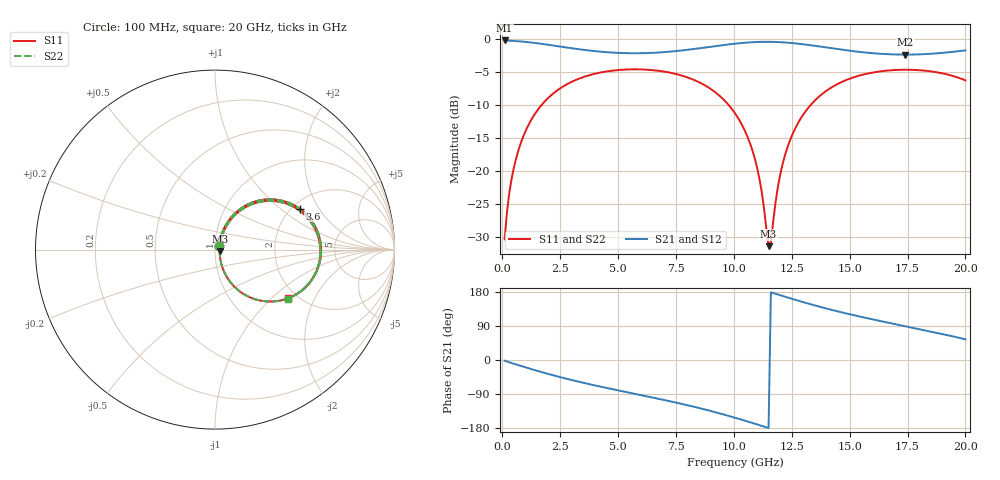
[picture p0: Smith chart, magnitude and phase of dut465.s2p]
! Touchstone file exported from HFSS 2026.1.0
!  File:  C:/ffzhzh/LocalFiles/Ansys_Project_Files/temp_train_TSV_RDL_465_1783102162_53076.aedt
!  Generated:  02:24:27 AM Jul  4, 2026
!  Design:  TSV_RDL
!  Project:  temp_train_TSV_RDL_465_1783102162_53076
! Variables:
!  h_bsmrdl = 3.25um
!  h_ox = 20um
!  h_rdl = 5um
!  h_sub = 69.39um
!  h_tmrdl = 5.28um
!  h_tsv = 69.39um
!  h_via = 3um
!  l_bsmrdl = 993.34um
!  l_sub = 5469.28um
!  l_tmrdl = 487.23um
!  m_sub = 200um
!  pitch = 58.72um
!  r_tsv = 9.49um
!  s_tmrdl = 10um
!  w_bsmrdl = 21.92um
!  w_sub = 500um
!  w_tmrdl = 24.86um
!  x_tsv_center1 = 499.66um
!  x_tsv_center2 = 1514.92um
!  x_tsv_center3 = 2027.01um
!  x_tsv_center4 = 3042.27um
!  x_tsv_center5 = 3554.36um
!  x_tsv_center6 = 4569.62um
# GHz S MA R 50.000000
! Terminal data exported
! Port[1] = TM_RDL1_1_T1
! Port[2] = TM_RDL5_1_T1
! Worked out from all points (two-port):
!   200 points, 100 MHz to 20 GHz, reference 50 ohm
!   highest |S21| = -0.19 dB at 100 MHz (marker M1); lowest = -2.3 dB at 17.4 GHz (marker M2)
!   |S21| within 3 dB of the highest: start of sweep to end of sweep
!   lowest |S11| = -31.4 dB at 11.5 GHz (marker M3), VSWR 1.06, Z = 52.7 - j0.769 ohm
!   |S11| at or under -10 dB: start of sweep to 1.691 GHz; 9.781 GHz to 13.31 GHz (3.53 GHz wide, 30.6 % of centre)
!   |S22| runs from -31.3 to -4.6 dB; largest |S21 - S12| = 1.7e-14
!   S11 on the Smith chart (normalised r, x): 100 MHz: 1.04, +0.04; 3.6 GHz: 2.19, +1.38; 20 GHz: 1.78, -1.27
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0.1  0.03039 44.1  0.9787 -2.0  0.9787 -2.0  0.03039 44.1
! Gamma 0 0 0 0
! Port Impedance 50 0 50 0
0.3  0.06765 64.2  0.9751 -6.0  0.9751 -6.0  0.06765 64.2
0.5  0.1064 67.1  0.9706 -9.9  0.9706 -9.9  0.1064 67.1
1.1  0.2184 62.1  0.9507 -21.2  0.9507 -21.2  0.2184 62.1
2.1  0.3748 47.3  0.9013 -38.7  0.9013 -38.7  0.3748 47.3
3.5  0.5164 27.2  0.8313 -60.2  0.8313 -60.2  0.5164 27.2
3.6  0.5234 25.9  0.8271 -61.6  0.8271 -61.6  0.5234 25.9
5.2  0.5874 5.6  0.7855 -82.7  0.7855 -82.7  0.5874 5.6
6.8  0.5749 -13.9  0.794 -103.0  0.794 -103.0  0.5749 -14.0
8.6  0.4624 -37.8  0.8577 -128.3  0.8577 -128.3  0.4624 -37.8
10.1  0.2663 -59.7  0.9274 -153.2  0.9274 -153.2  0.2663 -59.7
11  0.107 -67.5  0.9528 -169.9  0.9528 -169.9  0.1071 -67.5
11.5  0.027 -15.7  0.9558 -179.5  0.9558 -179.5  0.02716 -15.7
11.6  0.02902 23.1  0.9553 178.6  0.9553 178.6  0.02915 22.8
11.9  0.07554 61.4  0.9517 172.9  0.9517 172.9  0.07557 61.2
12.2  0.1305 64.5  0.9451 167.2  0.9451 167.2  0.1305 64.4
12.7  0.2192 60.2  0.9282 158.0  0.9282 158.0  0.2192 60.2
13.4  0.3291 50.5  0.8962 145.7  0.8962 145.7  0.3291 50.5
14.8  0.486 30.7  0.8267 123.7  0.8267 123.7  0.486 30.7
16.7  0.5801 6.7  0.7694 98.1  0.7694 98.1  0.5801 6.6
17.4  0.5873 -1.7  0.7646 89.3  0.7646 89.3  0.5873 -1.7
20  0.4877 -33.9  0.8236 54.6  0.8236 54.6  0.4877 -34.0
